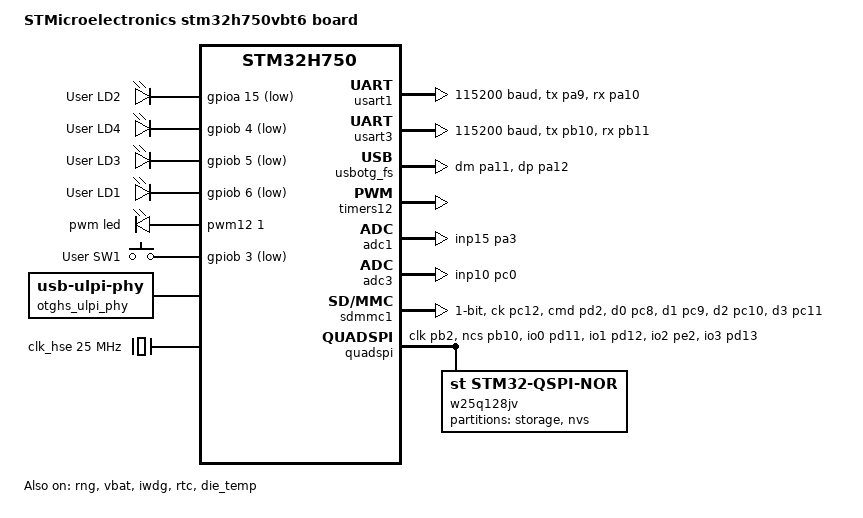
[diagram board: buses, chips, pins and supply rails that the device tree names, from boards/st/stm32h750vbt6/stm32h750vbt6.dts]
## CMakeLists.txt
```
# SPDX-License-Identifier: Apache-2.0

cmake_minimum_required(VERSION 3.20.0)
list(APPEND BOARD_ROOT ${CMAKE_CURRENT_SOURCE_DIR}/)
find_package(Zephyr REQUIRED HINTS $ENV{ZEPHYR_BASE})

project(stm32h750)

target_sources(app PRIVATE
	src/app_main.c
	src/hal_gpio.c
	src/hal_uart.c
	src/hal_rtc.c
	src/hal_adc.c
	src/hal_pwm.c
	src/qspi_flash.c
	src/fs_nvs.c
	src/sd_disk.c
	src/bsp_sd.c
	src/cpu_temp.c
)

# add_compile_definitions(HEADSET=1)

# Application sources
# add_subdirectory(src/audio)
```

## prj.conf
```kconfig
# Increased stack due to settings API usage
CONFIG_SYSTEM_WORKQUEUE_STACK_SIZE=4096
CONFIG_SYSTEM_WORKQUEUE_PRIORITY=5
CONFIG_MAIN_STACK_SIZE=4096
CONFIG_HEAP_MEM_POOL_SIZE=4096

# App settings:
CONFIG_SERIAL=y
CONFIG_UART_INTERRUPT_DRIVEN=y
CONFIG_SPI=y
CONFIG_FLASH=y
CONFIG_NVS=y
CONFIG_FLASH_PAGE_LAYOUT=y
CONFIG_SENSOR=y
CONFIG_STM32_TEMP=y
 
# SD卡文件系统
CONFIG_DISK_ACCESS=y
CONFIG_FILE_SYSTEM=y
CONFIG_DISK_DRIVERS=y
CONFIG_FAT_FILESYSTEM_ELM=y
# CONFIG_FILE_SYSTEM_EXT2=y
CONFIG_DISK_DRIVER_SDMMC=y

CONFIG_DMA=y
CONFIG_RTC=y
CONFIG_PWM=y
CONFIG_ADC=y
CONFIG_REGULATOR=y

# Log.
CONFIG_LOG=y
CONFIG_PRINTK=y
CONFIG_STDOUT_CONSOLE=y

# LOG Output mode.
CONFIG_LOG_MODE_DEFERRED=n  # 延迟输出模式(系统默认)
CONFIG_LOG_MODE_IMMEDIATE=y # 立即输出模式
CONFIG_LOG_MODE_MINIMAL=n   # 最小实现模式，日志直接通过printk同步输出
CONFIG_LOG_FRONTEND=n       # 输出被重定向到自定前端

# Disable ASSERT 断言判断，可以提高代码运行速度！
CONFIG_FORCE_NO_ASSERT=n
```

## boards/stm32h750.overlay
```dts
/*
 * Copyright 2023 STMicroelectronics
 *
 * SPDX-License-Identifier: Apache-2.0
 */

/* Copyright (c) 2021 STMicroelectronics
   SPDX-License-Identifier: Apache-2.0 */

 / {
	zephyr,user {
		/* adjust channel number according to pinmux in board.dts */
		io-channels = <&adc1 0>;
	};
};

&adc1 {
    #address-cells = <1>;
	#size-cells = <0>;
    #io-channel-cells = <1>;
	channel@0 {
		reg = <0>;
		zephyr,gain = "ADC_GAIN_1";
		zephyr,reference = "ADC_REF_INTERNAL";
		zephyr,acquisition-time = <ADC_ACQ_TIME_DEFAULT>;
		zephyr,resolution = <12>;
	};
};
```

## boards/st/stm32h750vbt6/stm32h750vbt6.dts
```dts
/*
 * Copyright (c) 2020 WuhanStudio
 * 
 * SPDX-License-Identifier: Apache-2.0
 */

 /dts-v1/;

 /*
 #include <st/h7/stm32h750Xb.dtsi> 这里不用官方的配置，FLASH RAM大小不对，自己进行适配修改！
  */
#include <st/h7/stm32h750vb.dtsi>
#include <st/h7/stm32h750vbtx-pinctrl.dtsi>
#include <zephyr/dt-bindings/input/input-event-codes.h>
  
/ {
	model = "STMicroelectronics stm32h750vbt6 board";
	compatible = "st,stm32h750";

	/* HW resources are split between CM7 */
	chosen {
		zephyr,console = &usart1;
		zephyr,shell-uart = &usart1;
		zephyr,sram = &sram0;
		zephyr,flash = &flash0;
		zephyr,flash-controller = &w25q128jv;
	};

	leds {
		compatible = "gpio-leds";

		orange_led:led_1 {
			gpios = <&gpioa 15 GPIO_ACTIVE_LOW>;
			label = "User LD2";
			status = "okay";
		};
		
		blue_led:led_2 {
			gpios = <&gpiob 4 GPIO_ACTIVE_LOW>;
			label = "User LD4";
			status = "okay";
		};

		red_led:led_3 {
		gpios = <&gpiob 5 GPIO_ACTIVE_LOW>;
		label = "User LD3";
		status = "okay";
	};

	green_led:led_4 {
			gpios = <&gpiob 6 GPIO_ACTIVE_LOW>;
			label = "User LD1";
			status = "okay";
		};
	};

	pwmleds {
		compatible = "pwm-leds";
		pwm_led0: pwm_led_0 {
			pwms = <&pwm12 1 PWM_USEC(100) PWM_POLARITY_NORMAL>;
			label = "pwm led";
			status = "okay";
		};
	};

	keys {
		compatible = "gpio-keys";
		wake_up: button {
			label = "User SW1";
			gpios = <&gpiob 3 (GPIO_PULL_UP | GPIO_ACTIVE_LOW)>;
			zephyr,code = <INPUT_KEY_0>;
			status = "okay";
		};
	};

	otghs_ulpi_phy: otghs_ulpis_phy {
		compatible = "usb-ulpi-phy";
		#phy-cells = <0>;
	};

	aliases {
		led0 = &green_led;
		led1 = &orange_led;
		led2 = &red_led;
		led3 = &blue_led;
		sw0 = &wake_up;
		rtc = &rtc;
		pwm-led0 = &pwm_led0;
	};
};
 
&clk_lsi {
	status = "disabled";
};

&clk_lse {
	status = "okay";
};

&clk_hse {
	clock-frequency = <DT_FREQ_M(25)>;
	status = "okay";
};
 
&clk_hsi48 {
	status = "okay";
};

&pll2 {
	div-m = <5>;
	mul-n = <96>;
	div-p = <2>;
	div-q = <4>;
	div-r = <10>;
	clocks = <&clk_hse>;  /* Assuming 25MHz HSE */
	status = "okay";
};

&pll3 {
	div-m = <5>;
	mul-n = <96>;
	div-p = <2>;
	div-q = <4>;
	div-r = <10>;
	clocks = <&clk_hse>;  /* Assuming 25MHz HSE */
	status = "okay";
};

&pll {
	div-m = <5>;
	mul-n = <160>;
	div-p = <2>;
	div-q = <4>;
	div-r = <2>;
	clocks = <&clk_hse>;
	status = "okay";
};

&rcc {
	clocks = <&pll>;  /* Set pll as SYSCLK source */
	clock-frequency = <DT_FREQ_M(400)>; /* SYSCLK runs at 400MHz */
	d1cpre = <1>;
	hpre = <2>;
	d1ppre = <2>;
	d2ppre1 = <2>;
	d2ppre2 = <2>;
	d3ppre = <2>;
};


&usart1 {
	status = "okay";
	pinctrl-0 = <&usart1_tx_pa9 &usart1_rx_pa10>;
	pinctrl-names = "default";
	current-speed = <115200>;
};

&usart3 {
	pinctrl-0 = <&usart3_tx_pb10 &usart3_rx_pb11>;
	pinctrl-names = "default";
	current-speed = <115200>;
	status = "okay";
};
 
&rng {
	status = "okay";
};

&vbat {
	status = "okay";
};

&iwdg {
	status = "okay";
};

&mac {
	status = "disabled";
	pinctrl-0 = <&eth_mdc_pc1
		     &eth_rxd0_pc4
		     &eth_rxd1_pc5
		     &eth_ref_clk_pa1
		     &eth_mdio_pa2
		     &eth_crs_dv_pa7
		     &eth_tx_en_pb11
		     &eth_txd0_pb12
		     &eth_txd1_pb13>;
	pinctrl-names = "default";
};

zephyr_udc0: &usbotg_fs {
	pinctrl-0 = <&usb_otg_fs_dm_pa11 &usb_otg_fs_dp_pa12>;
	pinctrl-names = "default";
	status = "okay";
};

&rtc {
	clocks = <&rcc STM32_CLOCK_BUS_APB4 0x00010000>,
			<&rcc STM32_SRC_LSE RTC_SEL(1)>;
	status = "okay";
};

&i2c1 {
	pinctrl-0 = <&i2c1_scl_pb8 &i2c1_sda_pb9>;
	pinctrl-names = "default";
	clock-frequency = <I2C_BITRATE_FAST>;
	status = "disabled";
};

&i2c2 {
	pinctrl-0 = <&i2c2_scl_pb10 &i2c2_sda_pb11>;
	pinctrl-names = "default";
	status = "disabled";
	clock-frequency = <I2C_BITRATE_FAST>;
};

&timers12 {
	status = "okay";
	st,prescaler = <999>;
	pwm12: pwm {
		status = "okay";
		pinctrl-0 = <&tim12_ch1_pb14>;
		pinctrl-names = "default";
	};
};

&adc1 {
	pinctrl-0 = <&adc1_inp15_pa3>;
	pinctrl-names = "default";
	st,adc-clock-source = <SYNC>;
	st,adc-prescaler = <4>;
	status = "okay";
};

&adc3 {
	pinctrl-0 = <&adc3_inp10_pc0>;
	pinctrl-names = "default";
	st,adc-clock-source = <ASYNC>;
	st,adc-prescaler = <4>;
	status = "okay";
};

/* 注意：要使能 &adc3，因为：io-channels = <&adc3 18>;  */
&die_temp { 
	status = "okay";
};

&spi4 {
	status = "disabled";
	fifo-enable;
	pinctrl-0 = <&spi4_sck_pe2 &spi4_miso_pe5 &spi4_mosi_pe6>;	
	cs-gpios = <&gpioe 4 (GPIO_ACTIVE_LOW | GPIO_PULL_UP)>;
	clock-frequency = <40000000>; /* 40MHz */
	pinctrl-names = "default";
	/* Sitronix ST7789V LCD */
	st7789v: st7789v@0 {
		compatible = "sitronix,st7789v";
		label = "ST7789V";
		reg = <0 DT_SIZE_K(10)>;
		// cmd-data-gpios = <&gpioe 1 GPIO_ACTIVE_LOW>;	
		// reset-gpios = <&gpioe 3 GPIO_ACTIVE_LOW>;
		width = <240>;
		height = <240>;
		x-offset = <0>;
		y-offset = <0>;
		vcom = <0x19>;
		gctrl = <0x35>;
		vrhs = <0x12>;
		vdvs = <0x20>;
		mdac = <0x00>;
		gamma = <0x01>;
		colmod = <0x05>;
		lcm = <0x2c>;
		porch-param = [0c 0c 00 33 33];
		cmd2en-param = [5a 69 02 01];
		pwctrl1-param = [a4 a1];
		pvgam-param = [D0 04 0D 11 13 2B 3F 54 4C 18 0D 0B 1F 23];
		nvgam-param = [D0 04 0C 11 13 2C 3F 44 51 2F 1F 1F 20 23];
		ram-param = [00 F0];
		rgb-param = [CD 08 14];
	};
};
 

&ext_memory {
	status = "disabled";
};

&dmamux1 {
	status = "okay";
};
 
&sdmmc1 {
	pinctrl-0 = <	&sdmmc1_ck_pc12 &sdmmc1_cmd_pd2
					&sdmmc1_d0_pc8  &sdmmc1_d1_pc9
					&sdmmc1_d2_pc10 &sdmmc1_d3_pc11>;
	// cd-gpios = <&gpioa 8 (GPIO_ACTIVE_LOW | GPIO_PULL_UP)>;
	pinctrl-names = "default";
	status = "okay";
	bus-width = <1>;
	clk-div = <1>;
	clocks = <&rcc STM32_CLOCK_BUS_AHB3 0x00010000>,
			 <&rcc STM32_SRC_PLL3_R SDMMC_SEL(0)>;   // 必须48MHz才行！
	// idma;
	// dmas = <&dma2 4 6 0x30000 0x00>, <&dma2 4 3 0x30000 0x00>;
	// dma-names = "tx", "rx";
};

&quadspi {
	pinctrl-0 = <	&quadspi_clk_pb2 &quadspi_bk1_ncs_pb10
					&quadspi_bk1_io0_pd11 &quadspi_bk1_io1_pd12
					&quadspi_bk1_io2_pe2 &quadspi_bk1_io3_pd13>;
	pinctrl-names = "default";
	status = "okay";

	w25q128jv: qspi-nor-flash@90000000 {
		compatible = "st,stm32-qspi-nor";
		reg = <0x90000000 DT_SIZE_M(16)>; /* 128 Mbits */
		qspi-max-frequency = <80000000>;
		spi-bus-width = <4>;
		writeoc="PP_1_1_4";
		status = "okay";
		partitions {
			compatible = "fixed-partitions";
			#address-cells = <1>;
			#size-cells = <1>;
			
			storage_partition: partition@0 {
				label = "storage";
				reg = <0x0 DT_SIZE_M(8)>;
			};

			nvs_partition: partition@800000 {
				label = "nvs";
				reg = <0x800000 DT_SIZE_M(8)>;
			};
		};
	};
};
```

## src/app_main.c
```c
/*
 * Copyright (c) 2022 Libre Solar Technologies GmbH
 *
 * SPDX-License-Identifier: Apache-2.0
 */

#include <zephyr/types.h>
#include <stddef.h>
#include <string.h>
#include <errno.h>

#include <zephyr/sys/printk.h>

#include <zephyr/sys/byteorder.h>
#include <zephyr/kernel.h>
#include <zephyr/drivers/pwm.h>


#include "hal_gpio.h"
#include "hal_uart.h"
#include "hal_rtc.h"
#include "hal_pwm.h"
#include "qspi_flash.h"
#include "fs_nvs.h"
#include "sd_disk.h"
#include "bsp_sd.h"
#include "cpu_temp.h"

#include <zephyr/logging/log.h>
LOG_MODULE_REGISTER(app_main, LOG_LEVEL_DBG);

void uart_recv_callback(uart_port_t uart_port, uint8_t *data, uint16_t len)
{
	LOG_INF("port[%d] = %s | %d", uart_port, data, len);
}
 
extern void led0_toggle(void);
 
extern int hal_adc_setup(void);


int main(void)
{
	LOG_DBG("app main start...");
	// k_msleep(1000);

 	hal_gpio_init();

	hal_uart_init(uart_recv_callback);

	spi_flash_init();

	fs_nvs_init();
  
	hal_pwm_setup();

	rtc_write_time(1767225595UL);

#if DT_HAS_COMPAT_STATUS_OKAY(st_stm32_sdmmc)
// #if DT_NODE_HAS_STATUS(DT_PATH(soc, sdmmc_52007000), okay)
	sd_disk_init();
#else
	bap_sd_init();
#endif

	cpu_temp_init();
 
	while (1) {

        led0_toggle();

		static uint8_t pwm_duty = 0;
		if (++pwm_duty > 100) pwm_duty = 1;
		hal_pwm_set_duty(pwm_duty);

		(void)cpu_temp_read();
  
		#if 0
		struct rtc_time datetime_get;
		time_t timer_get = rtc_read_time(&datetime_get);
		LOG_DBG("datetime_get.tm_sec = %d, %lld", datetime_get.tm_sec, timer_get);
		#endif
        k_msleep(1000);
		//break;    
    }

	hal_adc_setup();
 
	return 0; 
}

/** 开发板资料：
 * http://124.222.62.86/yd-data/YD-STM32H7xxvx/
*/
```

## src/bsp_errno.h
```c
/**
  ******************************************************************************
  * @file    stm32h750_errno.h
  * @author  MCD Application Team
  * @brief   Error Code.
  *
  ******************************************************************************
  * @attention
  *
  * Copyright (c) 2019 STMicroelectronics.
  * All rights reserved.
  *
  * This software is licensed under terms that can be found in the LICENSE file
  * in the root directory of this software component.
  * If no LICENSE file comes with this software, it is provided AS-IS.
  *
  ******************************************************************************
  */

/* Define to prevent recursive inclusion -------------------------------------*/
#ifndef STM32H750_ERRNO_H
#define STM32H750_ERRNO_H

#ifdef __cplusplus
 extern "C" {
#endif

/* Common Error codes */
#define BSP_ERROR_NONE                    0
#define BSP_ERROR_NO_INIT                -1
#define BSP_ERROR_WRONG_PARAM            -2
#define BSP_ERROR_BUSY                   -3
#define BSP_ERROR_PERIPH_FAILURE         -4
#define BSP_ERROR_COMPONENT_FAILURE      -5
#define BSP_ERROR_UNKNOWN_FAILURE        -6
#define BSP_ERROR_UNKNOWN_COMPONENT      -7
#define BSP_ERROR_BUS_FAILURE            -8
#define BSP_ERROR_CLOCK_FAILURE          -9
#define BSP_ERROR_MSP_FAILURE            -10
#define BSP_ERROR_FEATURE_NOT_SUPPORTED  -11

/* BSP OSPI error codes */
#define BSP_ERROR_OSPI_SUSPENDED          -20
#define BSP_ERROR_OSPI_ASSIGN_FAILURE     -24
#define BSP_ERROR_OSPI_SETUP_FAILURE      -25
#define BSP_ERROR_OSPI_MMP_LOCK_FAILURE   -26
#define BSP_ERROR_OSPI_MMP_UNLOCK_FAILURE -27

/* BSP TS error code */
#define BSP_ERROR_TS_TOUCH_NOT_DETECTED   -30

/* BSP BUS error codes */
#define BSP_ERROR_BUS_TRANSACTION_FAILURE    -100
#define BSP_ERROR_BUS_ARBITRATION_LOSS       -101
#define BSP_ERROR_BUS_ACKNOWLEDGE_FAILURE    -102
#define BSP_ERROR_BUS_PROTOCOL_FAILURE       -103

#define BSP_ERROR_BUS_MODE_FAULT             -104
#define BSP_ERROR_BUS_FRAME_ERROR            -105
#define BSP_ERROR_BUS_CRC_ERROR              -106
#define BSP_ERROR_BUS_DMA_FAILURE            -107

#ifdef __cplusplus
}
#endif

#endif /* STM32H750_ERRNO_H */
```

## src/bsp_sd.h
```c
/**
  ******************************************************************************
  * @file    stm32h7_eval_sd.h
  * @author  MCD Application Team
    * @brief   This file contains the common defines and functions prototypes for
  *          the stm32h7_eval_sd.c driver.
  ******************************************************************************
  * @attention
  *
  * Copyright (c) 2019 STMicroelectronics.
  * All rights reserved.
  *
  * This software is licensed under terms that can be found in the LICENSE file
  * in the root directory of this software component.
  * If no LICENSE file comes with this software, it is provided AS-IS.
  *
  ******************************************************************************
    */

/* Define to prevent recursive inclusion -------------------------------------  */
#ifndef STM32H7_EVAL_SD_H
#define STM32H7_EVAL_SD_H

#ifdef __cplusplus
extern "C" {
#endif

/* Includes ------------------------------------------------------------------  */
#include <stm32_ll_rcc.h>
#include <stm32_ll_gpio.h>
#include <stm32_ll_sdmmc.h>
#include "bsp_errno.h"

/** @addtogroup BSP
  * @{
  */

/** @addtogroup STM32H7_EVAL
  * @{
  */

/** @defgroup STM32H7_EVAL_SD SD
  * @{
  */

/** @defgroup STM32H7_EVAL_SD_Exported_Types SD Exported Types
  * @{
  */

/**
  * @brief SD Card information structure
  */
#define BSP_SD_CardInfo HAL_SD_CardInfoTypeDef

#if (USE_HAL_SD_REGISTER_CALLBACKS == 1)
typedef struct
{
  pSD_CallbackTypeDef  pMspInitCb;
  pSD_CallbackTypeDef  pMspDeInitCb;
}BSP_SD_Cb_t;
#endif /* (USE_HAL_SD_REGISTER_CALLBACKS == 1) */
/**
  * @}
  */

/** @defgroup STM32H750_DK_SD_Exported_Constants Exported Constants
  * @{
  */
#define SD_INSTANCES_NBR         1UL

#ifndef SD_WRITE_TIMEOUT
#define SD_WRITE_TIMEOUT         500U
#endif

#ifndef SD_READ_TIMEOUT
#define SD_READ_TIMEOUT          100U
#endif

/**
  * @brief  SD transfer state definition
  */
#define   SD_TRANSFER_OK         0U
#define   SD_TRANSFER_BUSY       1U

/**
  * @brief SD-detect signal
  */
#define SD_PRESENT               1UL
#define SD_NOT_PRESENT           0UL

/* IRQ priorities */
#define BSP_SRAM_IT_PRIORITY                15U
#define BSP_SDRAM_IT_PRIORITY               15U
#define BSP_IOEXPANDER_IT_PRIORITY          15U
#define BSP_BUTTON_USER_IT_PRIORITY         15U
#define BSP_BUTTON_WAKEUP_IT_PRIORITY       15U
#define BSP_BUTTON_TAMPER_IT_PRIORITY       15U
#define BSP_AUDIO_OUT_IT_PRIORITY           14U
#define BSP_AUDIO_IN_IT_PRIORITY            15U
#define BSP_SD_IT_PRIORITY                  14U
#define BSP_SD_RX_IT_PRIORITY               14U
#define BSP_SD_TX_IT_PRIORITY               15U
#define BSP_TS_IT_PRIORITY                  15U

#define SD_DETECT_PIN                        GPIO_PIN_8
#define SD_DETECT_GPIO_PORT                  GPIOA
#define SD_DETECT_GPIO_CLK_ENABLE()          __HAL_RCC_GPIOA_CLK_ENABLE()
#define SD_DETECT_GPIO_CLK_DISABLE()         __HAL_RCC_GPIOA_CLK_DISABLE()
#define SD_DETECT_EXTI_IRQn                  EXTI9_5_IRQn
#define SD_DETECT_EXTI_LINE                  EXTI_LINE_8

/* DMA definitions for SD DMA transfer */
#define SD1_DMAx_TxRx_CLK_ENABLE           __HAL_RCC_DMA2_CLK_ENABLE
#define SD1_SDMMC1_DMAx_Tx_CHANNEL         DMA_CHANNEL_4
#define SD1_SDMMC1_DMAx_Rx_CHANNEL         DMA_CHANNEL_4
#define SD1_SDMMC1_DMAx_Tx_STREAM          DMA2_Stream6
#define SD1_SDMMC1_DMAx_Rx_STREAM          DMA2_Stream3
#define SD1_SDMMC1_DMAx_Tx_IRQn            DMA2_Stream6_IRQn
#define SD1_SDMMC1_DMAx_Rx_IRQn            DMA2_Stream3_IRQn
#define SD1_SDMMC1_DMA_Tx_IRQHandler       DMA2_Stream6_IRQHandler
#define SD1_SDMMC1_DMA_Rx_IRQHandler       DMA2_Stream3_IRQHandler
#define SD1_SDMMC1_IRQHandler              SDMMC1_IRQHandler

/**
  * @}
  */

/** @addtogroup STM32H750_DK_SD_Exported_Variables
  * @{
  */
#define BSP_SD_INSTANCE		0
extern SD_HandleTypeDef   hsd_sdmmc[];
extern EXTI_HandleTypeDef hsd_exti[];

/**
  * @}
  */

/** @defgroup STM32H750_DK_SD_Exported_FunctionsPrototypes Exported Functions Prototypes
  * @{
  */
int32_t BSP_SD_Init(uint32_t Instance);
int32_t BSP_SD_DeInit(uint32_t Instance);
#if (USE_HAL_SD_REGISTER_CALLBACKS == 1)
int32_t BSP_SD_RegisterMspCallbacks(uint32_t Instance, BSP_SD_Cb_t *CallBacks);
int32_t BSP_SD_RegisterDefaultMspCallbacks(uint32_t Instance);
#endif /* (USE_HAL_SD_REGISTER_CALLBACKS == 1) */
int32_t BSP_SD_DetectITConfig(uint32_t Instance);
int32_t BSP_SD_ReadBlocks(uint32_t Instance, uint32_t *pData, uint32_t BlockIdx, uint32_t BlocksNbr);
int32_t BSP_SD_WriteBlocks(uint32_t Instance, uint32_t *pData, uint32_t BlockIdx, uint32_t NbrOfBlocks);
int32_t BSP_SD_ReadBlocks_DMA(uint32_t Instance, uint32_t *pData, uint32_t BlockIdx, uint32_t NbrOfBlocks);
int32_t BSP_SD_WriteBlocks_DMA(uint32_t Instance, uint32_t *pData, uint32_t BlockIdx, uint32_t NbrOfBlocks);
int32_t BSP_SD_ReadBlocks_IT(uint32_t Instance, uint32_t *pData, uint32_t BlockIdx, uint32_t NbrOfBlocks);
int32_t BSP_SD_WriteBlocks_IT(uint32_t Instance, uint32_t *pData, uint32_t BlockIdx, uint32_t NbrOfBlocks);
int32_t BSP_SD_Erase(uint32_t Instance, uint32_t BlockIdx, uint32_t BlocksNbr);
int32_t BSP_SD_GetCardState(uint32_t Instance);
int32_t BSP_SD_GetCardInfo(uint32_t Instance, BSP_SD_CardInfo *CardInfo);
int32_t BSP_SD_IsDetected(uint32_t Instance);

/* These functions can be modified in case the current settings (e.g. DMA stream or IT)
   need to be changed for specific application needs */
void BSP_SD_AbortCallback(uint32_t Instance);
void BSP_SD_WriteCpltCallback(uint32_t Instance);
void BSP_SD_ReadCpltCallback(uint32_t Instance);

HAL_StatusTypeDef MX_SDMMC1_SD_Init(SD_HandleTypeDef *hsd);
void BSP_SD_DetectCallback(uint32_t Instance, uint32_t Status);

void BSP_SD_DETECT_IRQHandler(uint32_t Instance);
void BSP_SD_IRQHandler(uint32_t Instance);


int32_t bap_sd_init(void);

/**
  * @}
  */

/**
  * @}
  */

/**
  * @}
  */

/**
  * @}
  */

#ifdef __cplusplus
}
#endif

#endif /* STM32H7_EVAL_SD_H   */
```

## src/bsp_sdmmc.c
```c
/**
 ******************************************************************************
 * @file    stm32h750b_discovery_mmc.c
 * @author  MCD Application Team
 * @brief   This file includes the EMMC driver mounted on STM32H750B-DK
 *          board.
 ******************************************************************************
 * @attention
 *
 * Copyright (c) 2018 STMicroelectronics.
 * All rights reserved.
 *
 * This software is licensed under terms that can be found in the LICENSE file
 * in the root directory of this software component.
 * If no LICENSE file comes with this software, it is provided AS-IS.
 *
 ******************************************************************************
 */

/* File Info : -----------------------------------------------------------------
                                   User NOTES
1. How To use this driver:
--------------------------
   - This driver is used to drive the EMMC mounted on STM32H750B-DK board.
   - This driver does not need a specific component driver for the EMMC device
     to be included with.

2. Driver description:
---------------------
  + Initialization steps:
     o Initialize the external EMMC memory using the BSP_MMC_Init() function. This
       function includes the MSP layer hardware resources initialization and the
       SDIO interface configuration to interface with the external EMMC. It
       also includes the EMMC initialization sequence.
     o The function BSP_MMC_GetCardInfo() is used to get the MMC information
       which is stored in the structure "HAL_MMC_CardInfoTypedef".

  + Micro MMC card operations
     o The micro MMC card can be accessed with read/write block(s) operations once
       it is ready for access. The access can be performed whether using the polling
       mode by calling the functions BSP_MMC_ReadBlocks()/BSP_MMC_WriteBlocks(), or by DMA
       transfer using the functions BSP_MMC_ReadBlocks_DMA()/BSP_MMC_WriteBlocks_DMA()
     o The DMA transfer complete is used with interrupt mode. Once the MMC transfer
       is complete, the MMC interrupt is handled using the function BSP_MMC_IRQHandler(),
       the DMA Tx/Rx transfer complete are handled using the functions
       MMC_DMA_Tx_IRQHandler()/MMC_DMA_Rx_IRQHandler() that should be defined by user.
       The corresponding user callbacks are implemented by the user at application level.
     o The MMC erase block(s) is performed using the function BSP_MMC_Erase() with specifying
       the number of blocks to erase.
     o The MMC runtime status is returned when calling the function BSP_MMC_GetStatus().

------------------------------------------------------------------------------*/

/* Includes ------------------------------------------------------------------*/
#include <zephyr/sys/printk.h>

#include "bsp_sdmmc.h"

/** @addtogroup BSP
 * @{
 */

/** @addtogroup STM32H750B_DK
 * @{
 */

/** @defgroup STM32H750B_DK_MMC MMC
 * @{
 */

/** @defgroup STM32H750B_DK_MMC_Exported_Variables Exported Variables
 * @{
 */
MMC_HandleTypeDef hsd_sdmmc[MMC_INSTANCES_NBR];
/**
 * @}
 */

/** @defgroup STM32H750B_DK_MMC_Private_FunctionsPrototypes Private Functions Prototypes
 * @{
 */
static void MMC_MspInit(MMC_HandleTypeDef *hmmc);
static void MMC_MspDeInit(MMC_HandleTypeDef *hmmc);
#if (USE_HAL_MMC_REGISTER_CALLBACKS == 1)
static void MMC_AbortCallback(MMC_HandleTypeDef *hmmc);
static void MMC_TxCpltCallback(MMC_HandleTypeDef *hmmc);
static void MMC_RxCpltCallback(MMC_HandleTypeDef *hmmc);
#endif
/**
 * @}
 */

/** @defgroup STM32H750B_DK_MMC_Exported_Functions Exported Functions
 * @{
 */

/**
 * @brief  Initializes the MMC card device.
 * @param  Instance      SDMMC Instance
 * @retval BSP status
 */
int32_t BSP_MMC_Init(uint32_t Instance)
{
    int32_t ret = BSP_ERROR_NONE;

    if (Instance >= MMC_INSTANCES_NBR)
    {
        ret = BSP_ERROR_WRONG_PARAM;
    }
    else
    {
#if (USE_HAL_MMC_REGISTER_CALLBACKS == 0)
        /* Msp MMC initialization */
        MMC_MspInit(&hsd_sdmmc[Instance]);
#else
        /* Register the MMC MSP Callbacks */
        if (IsMspCallbacksValid[Instance] == 0UL)
        {
            if (BSP_MMC_RegisterDefaultMspCallbacks(Instance) != BSP_ERROR_NONE)
            {
                ret = BSP_ERROR_PERIPH_FAILURE;
            }
        }
        if (ret == BSP_ERROR_NONE)
        {
#endif
        /* HAL MMC initialization */
        if (MX_MMC_SD_Init(&hsd_sdmmc[Instance]) != HAL_OK)
        {
            ret = BSP_ERROR_PERIPH_FAILURE;
        }
#if (USE_HAL_MMC_REGISTER_CALLBACKS == 1)
        /* Register MMC TC, HT and Abort callbacks */
        else if (HAL_MMC_RegisterCallback(&hsd_sdmmc[Instance], HAL_MMC_TX_CPLT_CB_ID, MMC_TxCpltCallback) != HAL_OK)
        {
            ret = BSP_ERROR_PERIPH_FAILURE;
        }
        else if (HAL_MMC_RegisterCallback(&hsd_sdmmc[Instance], HAL_MMC_RX_CPLT_CB_ID, MMC_RxCpltCallback) != HAL_OK)
        {
            ret = BSP_ERROR_PERIPH_FAILURE;
        }
        else
        {
            if (HAL_MMC_RegisterCallback(&hsd_sdmmc[Instance], HAL_MMC_ABORT_CB_ID, MMC_AbortCallback) != HAL_OK)
            {
                ret = BSP_ERROR_PERIPH_FAILURE;
            }
        }
    }
#endif /* USE_HAL_MMC_REGISTER_CALLBACKS */
}

return ret;
}

/**
 * @brief  DeInitializes the MMC card device.
 * @param  Instance      SDMMC Instance
 * @retval BSP status
 */
int32_t BSP_MMC_DeInit(uint32_t Instance)
{
    int32_t ret = BSP_ERROR_NONE;

    if (Instance >= MMC_INSTANCES_NBR)
    {
        ret = BSP_ERROR_WRONG_PARAM;
    } /* HAL MMC deinitialization */
    else if (HAL_MMC_DeInit(&hsd_sdmmc[Instance]) != HAL_OK)
    {
        ret = BSP_ERROR_PERIPH_FAILURE;
    }
    else
    {
        /* Msp MMC de-initialization */
#if (USE_HAL_MMC_REGISTER_CALLBACKS == 0)
        MMC_MspDeInit(&hsd_sdmmc[Instance]);
#endif /* (USE_HAL_MMC_REGISTER_CALLBACKS == 0) */
    }

    return ret;
}

/**
 * @brief  Initializes the SDMMC1 peripheral.
 * @param  hmmc SD handle
 * @retval HAL status
 */
__weak HAL_StatusTypeDef MX_MMC_SD_Init(MMC_HandleTypeDef *hmmc)
{
    HAL_StatusTypeDef ret = HAL_OK;

    hmmc->State                    = HAL_MMC_STATE_RESET;
    hmmc->Instance                 = SDMMC1;
    hmmc->Init.ClockDiv            = 2;
    hmmc->Init.ClockPowerSave      = SDMMC_CLOCK_POWER_SAVE_DISABLE;
    hmmc->Init.ClockEdge           = SDMMC_CLOCK_EDGE_RISING;
    hmmc->Init.HardwareFlowControl = SDMMC_HARDWARE_FLOW_CONTROL_ENABLE;
    hmmc->Init.BusWide             = SDMMC_BUS_WIDE_8B;
    
    /* HAL SD initialization */
    ret = HAL_MMC_Init(hmmc);
    printk("MX_MMC_SD_Init, ret = %d\r\n", ret);
    return ret;
}

#if (USE_HAL_MMC_REGISTER_CALLBACKS == 1)
/**
 * @brief Default BSP MMC Msp Callbacks
 * @param  Instance      SDMMC Instance
 * @retval BSP status
 */
int32_t BSP_MMC_RegisterDefaultMspCallbacks(uint32_t Instance)
{
    int32_t ret = BSP_ERROR_NONE;

    if (Instance >= MMC_INSTANCES_NBR)
    {
        ret = BSP_ERROR_WRONG_PARAM;
    }
    else
    {
        /* Register MspInit/MspDeInit Callbacks */
        if (HAL_MMC_RegisterCallback(&hsd_sdmmc[Instance], HAL_MMC_MSP_INIT_CB_ID, MMC_MspInit) != HAL_OK)
        {
            ret = BSP_ERROR_PERIPH_FAILURE;
        }
        else if (HAL_MMC_RegisterCallback(&hsd_sdmmc[Instance], HAL_MMC_MSP_DEINIT_CB_ID, MMC_MspDeInit) != HAL_OK)
        {
            ret = BSP_ERROR_PERIPH_FAILURE;
        }
        else
        {
            IsMspCallbacksValid[Instance] = 1U;
        }
    }
    /* Return BSP status */
    return ret;
}

/**
 * @brief BSP MMC Msp Callback registering
 * @param  Instance   SDMMC Instance
 * @param  CallBacks  pointer to MspInit/MspDeInit callbacks functions
 * @retval BSP status
 */
int32_t BSP_MMC_RegisterMspCallbacks(uint32_t Instance, BSP_MMC_Cb_t *CallBacks)
{
    int32_t ret = BSP_ERROR_NONE;

    if (Instance >= MMC_INSTANCES_NBR)
    {
        ret = BSP_ERROR_WRONG_PARAM;
    }
    else
    {
        /* Register MspInit/MspDeInit Callbacks */
        if (HAL_MMC_RegisterCallback(&hsd_sdmmc[Instance], HAL_MMC_MSP_INIT_CB_ID, CallBacks->pMspInitCb) != HAL_OK)
        {
            ret = BSP_ERROR_PERIPH_FAILURE;
        }
        else if (HAL_MMC_RegisterCallback(&hsd_sdmmc[Instance], HAL_MMC_MSP_DEINIT_CB_ID, CallBacks->pMspDeInitCb) != HAL_OK)
        {
            ret = BSP_ERROR_PERIPH_FAILURE;
        }
        else
        {
            IsMspCallbacksValid[Instance] = 1U;
        }
    }

    /* Return BSP status */
    return ret;
}
#endif /* (USE_HAL_MMC_REGISTER_CALLBACKS == 1) */

/**
 * @brief  Reads block(s) from a specified address in an SD card, in polling mode.
 * @param  Instance   MMC Instance
 * @param  pData      Pointer to the buffer that will contain the data to transmit
 * @param  BlockIdx   Block index from where data is to be read
 * @param  BlocksNbr  Number of MMC blocks to read
 * @retval BSP status
 */
int32_t BSP_MMC_ReadBlocks(uint32_t Instance, uint32_t *pData, uint32_t BlockIdx, uint32_t BlocksNbr)
{
    uint32_t timeout = MMC_READ_TIMEOUT * BlocksNbr;
    int32_t ret;

    if (Instance >= MMC_INSTANCES_NBR)
    {
        ret = BSP_ERROR_WRONG_PARAM;
    }
    else if (HAL_MMC_ReadBlocks(&hsd_sdmmc[Instance], (uint8_t *)pData, BlockIdx, BlocksNbr, timeout) != HAL_OK)
    {
        ret = BSP_ERROR_PERIPH_FAILURE;
    }
    else
    {
        ret = BSP_ERROR_NONE;
    }
    /* Return BSP status */
    return ret;
}

/**
 * @brief  Writes block(s) to a specified address in an SD card, in polling mode.
 * @param  Instance   MMC Instance
 * @param  pData      Pointer to the buffer that will contain the data to transmit
 * @param  BlockIdx   Block index from where data is to be written
 * @param  BlocksNbr  Number of MMC blocks to write
 * @retval BSP status
 */
int32_t BSP_MMC_WriteBlocks(uint32_t Instance, uint32_t *pData, uint32_t BlockIdx, uint32_t BlocksNbr)
{
    uint32_t timeout = MMC_READ_TIMEOUT * BlocksNbr;
    int32_t ret;

    if (Instance >= MMC_INSTANCES_NBR)
    {
        ret = BSP_ERROR_WRONG_PARAM;
    }
    else if (HAL_MMC_WriteBlocks(&hsd_sdmmc[Instance], (uint8_t *)pData, BlockIdx, BlocksNbr, timeout) != HAL_OK)
    {
        ret = BSP_ERROR_PERIPH_FAILURE;
    }
    else
    {
        ret = BSP_ERROR_NONE;
    }
    /* Return BSP status */
    return ret;
}

/**
 * @brief  Reads block(s) from a specified address in an SD card, in DMA mode.
 * @param  Instance   MMC Instance
 * @param  pData      Pointer to the buffer that will contain the data to transmit
 * @param  BlockIdx   Block index from where data is to be read
 * @param  BlocksNbr  Number of MMC blocks to read
 * @retval BSP status
 */
int32_t BSP_MMC_ReadBlocks_DMA(uint32_t Instance, uint32_t *pData, uint32_t BlockIdx, uint32_t BlocksNbr)
{
    int32_t ret;

    if (Instance >= MMC_INSTANCES_NBR)
    {
        ret = BSP_ERROR_WRONG_PARAM;
    }
    else if (HAL_MMC_ReadBlocks_DMA(&hsd_sdmmc[Instance], (uint8_t *)pData, BlockIdx, BlocksNbr) != HAL_OK)
    {
        ret = BSP_ERROR_PERIPH_FAILURE;
    }
    else
    {
        ret = BSP_ERROR_NONE;
    }
    /* Return BSP status */
    return ret;
}

/**
 * @brief  Writes block(s) to a specified address in an SD card, in DMA mode.
 * @param  Instance   MMC Instance
 * @param  pData      Pointer to the buffer that will contain the data to transmit
 * @param  BlockIdx   Block index from where data is to be written
 * @param  BlocksNbr  Number of MMC blocks to write
 * @retval BSP status
 */
int32_t BSP_MMC_WriteBlocks_DMA(uint32_t Instance, uint32_t *pData, uint32_t BlockIdx, uint32_t BlocksNbr)
{
    int32_t ret;

    if (Instance >= MMC_INSTANCES_NBR)
    {
        ret = BSP_ERROR_WRONG_PARAM;
    }
    else if (HAL_MMC_WriteBlocks_DMA(&hsd_sdmmc[Instance], (uint8_t *)pData, BlockIdx, BlocksNbr) != HAL_OK)
    {
        ret = BSP_ERROR_PERIPH_FAILURE;
    }
    else
    {
        ret = BSP_ERROR_NONE;
    }
    /* Return BSP status */
    return ret;
}

/**
 * @brief  Erases the specified memory area of the given MMC card.
 * @param  Instance   MMC Instance
 * @param  StartAddr : Start byte address
 * @param  EndAddr : End byte address
 * @retval BSP status
 */
int32_t BSP_MMC_Erase(uint32_t Instance, uint32_t StartAddr, uint32_t EndAddr)
{
    int32_t ret;

    if (Instance >= MMC_INSTANCES_NBR)
    {
        ret = BSP_ERROR_WRONG_PARAM;
    }
    else if (HAL_MMC_Erase(&hsd_sdmmc[Instance], StartAddr, EndAddr) != HAL_OK)
    {
        ret = BSP_ERROR_PERIPH_FAILURE;
    }
    else
    {
        ret = BSP_ERROR_NONE;
    }

    return ret;
}

/**
 * @brief  Handles MMC card interrupt request.
 * @param  Instance   MMC Instance
 * @retval None
 */
void BSP_MMC_IRQHandler(uint32_t Instance)
{
    HAL_MMC_IRQHandler(&hsd_sdmmc[Instance]);
}

/**
 * @brief  Gets the current MMC card data status.
 * @param  Instance   MMC Instance
 * @retval Data transfer state.
 *          This value can be one of the following values:
 *            @arg  MMC_TRANSFER_OK: No data transfer is acting
 *            @arg  MMC_TRANSFER_BUSY: Data transfer is acting
 *            @arg  MMC_TRANSFER_ERROR: Data transfer error
 */
int32_t BSP_MMC_GetCardState(uint32_t Instance)
{
    return ((HAL_MMC_GetCardState(&hsd_sdmmc[Instance]) == HAL_MMC_CARD_TRANSFER) ? MMC_TRANSFER_OK : MMC_TRANSFER_BUSY);
}

/**
 * @brief  Get MMC information about specific MMC card.
 * @param  Instance   MMC Instance
 * @param  CardInfo : Pointer to HAL_MMC_CardInfoTypedef structure
 * @retval None
 */
int32_t BSP_MMC_GetCardInfo(uint32_t Instance, BSP_MMC_CardInfo *CardInfo)
{
    int32_t ret;

    if (Instance >= MMC_INSTANCES_NBR)
    {
        ret = BSP_ERROR_WRONG_PARAM;
    }
    else if (HAL_MMC_GetCardInfo(&hsd_sdmmc[Instance], CardInfo) != HAL_OK)
    {
        ret = BSP_ERROR_PERIPH_FAILURE;
    }
    else
    {
        ret = BSP_ERROR_NONE;
    }
    /* Return BSP status */
    return ret;
}

/**
 * @brief BSP MMC Abort callbacks
 * @param  Instance   MMC Instance
 * @retval None
 */
__weak void BSP_MMC_AbortCallback(uint32_t Instance)
{
    /* Prevent unused argument(s) compilation warning */
    UNUSED(Instance);
}

/**
 * @brief BSP Tx Transfer completed callbacks
 * @param  Instance   MMC Instance
 * @retval None
 */
__weak void BSP_MMC_WriteCpltCallback(uint32_t Instance)
{
    /* Prevent unused argument(s) compilation warning */
    UNUSED(Instance);
}

/**
 * @brief BSP Rx Transfer completed callbacks
 * @param  Instance   MMC Instance
 * @retval None
 */
__weak void BSP_MMC_ReadCpltCallback(uint32_t Instance)
{
    /* Prevent unused argument(s) compilation warning */
    UNUSED(Instance);
}

#if (USE_HAL_MMC_REGISTER_CALLBACKS == 0)
/**
 * @brief MMC Abort callbacks
 * @param hmmc : MMC handle
 * @retval None
 */
void HAL_MMC_AbortCallback(MMC_HandleTypeDef *hmmc)
{
    BSP_MMC_AbortCallback(0);
}

/**
 * @brief Tx Transfer completed callbacks
 * @param hmmc: MMC handle
 * @retval None
 */
void HAL_MMC_TxCpltCallback(MMC_HandleTypeDef *hmmc)
{
    BSP_MMC_WriteCpltCallback(0);
}

/**
 * @brief Rx Transfer completed callbacks
 * @param hmmc: MMC handle
 * @retval None
 */
void HAL_MMC_RxCpltCallback(MMC_HandleTypeDef *hmmc)
{
    BSP_MMC_ReadCpltCallback(0);
}
#endif
/**
 * @}
 */

/** @defgroup STM32H750B_DK_MMC_Private_Functions Private Functions
 * @{
 */

/**
 * @brief  Initializes the MMC MSP.
 * @param  hmmc  MMC handle
 * @retval None
 */
static void MMC_MspInit(MMC_HandleTypeDef *hmmc)
{
    /* Prevent unused argument(s) compilation warning */
    UNUSED(hmmc);

    /* __weak function can be modified by the application */
    GPIO_InitTypeDef gpio_init_structure;

    /* Enable SDIO clock */
    __HAL_RCC_SDMMC1_CLK_ENABLE();

    /* Enable GPIOs clock */
    __HAL_RCC_GPIOA_CLK_ENABLE();
    __HAL_RCC_GPIOC_CLK_ENABLE();
    __HAL_RCC_GPIOD_CLK_ENABLE();
 
    
    /* Common GPIO configuration */
    gpio_init_structure.Mode = GPIO_MODE_AF_PP;
    gpio_init_structure.Pull = GPIO_PULLUP;
    gpio_init_structure.Speed = GPIO_SPEED_FREQ_VERY_HIGH;
    gpio_init_structure.Alternate = GPIO_AF12_SDIO1;

#if 1
    /* SDMMC GPIO CLKIN PB8, D0 PC8, D1 PC9, D2 PC10, D3 PC11, CK PC12, CMD PD2 */
    /* GPIOC configuration */
    gpio_init_structure.Pin = GPIO_PIN_8 | GPIO_PIN_9 | GPIO_PIN_10 | GPIO_PIN_11 | GPIO_PIN_12;
    HAL_GPIO_Init(GPIOC, &gpio_init_structure);

    /* GPIOD configuration CMD PD2 */
    gpio_init_structure.Pin = GPIO_PIN_2;
    HAL_GPIO_Init(GPIOD, &gpio_init_structure);

    /* switch PA8 */
    gpio_init_structure.Pin = GPIO_PIN_8;
    gpio_init_structure.Mode = GPIO_MODE_INPUT;
    HAL_GPIO_Init(GPIOA, &gpio_init_structure);
#else 
     /* Common GPIO configuration */
    gpio_init_structure.Mode      = GPIO_MODE_AF_PP;
    gpio_init_structure.Pull      = GPIO_PULLUP;
    gpio_init_structure.Speed     = GPIO_SPEED_FREQ_VERY_HIGH;
    gpio_init_structure.Alternate = GPIO_AF12_SDIO1;

    /* SDMMC GPIO CLKIN PB8, D0 PC8, D1 PC9, D2 PC10, D3 PC11, CK PC12, CMD PD2 */
    /* GPIOC configuration */
    gpio_init_structure.Pin = GPIO_PIN_6 | GPIO_PIN_7 | GPIO_PIN_8 | GPIO_PIN_9 | GPIO_PIN_10 | GPIO_PIN_11 | GPIO_PIN_12;
    HAL_GPIO_Init(GPIOC, &gpio_init_structure);

    /* GPIOD configuration */
    gpio_init_structure.Pin = GPIO_PIN_2;
    HAL_GPIO_Init(GPIOD, &gpio_init_structure);

    gpio_init_structure.Pin = GPIO_PIN_8 | GPIO_PIN_9;
    HAL_GPIO_Init(GPIOB, &gpio_init_structure);
#endif
 
    /* NVIC configuration for SDIO interrupts */
    HAL_NVIC_SetPriority(SDMMC1_IRQn, 5, 0);
    HAL_NVIC_EnableIRQ(SDMMC1_IRQn);
}

/**
 * @brief  DeInitializes the MMC MSP.
 * @param  hmmc : MMC handle
 * @retval None
 */
static void MMC_MspDeInit(MMC_HandleTypeDef *hmmc)
{
    /* Prevent unused argument(s) compilation warning */
    UNUSED(hmmc);

    /* Disable NVIC for SDIO interrupts */
    HAL_NVIC_DisableIRQ(SDMMC1_IRQn);

    /* DeInit GPIO pins can be done in the application
    (by surcharging this __weak function) */

    /* Disable SDMMC1 clock */
    __HAL_RCC_SDMMC1_CLK_DISABLE();

    /* GPIO pins clock and DMA clocks can be shut down in the application
    by surcharging this __weak function */
}

#if (USE_HAL_MMC_REGISTER_CALLBACKS == 1)
/**
 * @brief MMC Abort callbacks
 * @param hmmc : MMC handle
 * @retval None
 */
static void MMC_AbortCallback(MMC_HandleTypeDef *hmmc)
{
    BSP_MMC_AbortCallback(0);
}

/**
 * @brief Tx Transfer completed callbacks
 * @param hmmc : MMC handle
 * @retval None
 */
static void MMC_TxCpltCallback(MMC_HandleTypeDef *hmmc)
{
    BSP_MMC_WriteCpltCallback(0);
}

/**
 * @brief Rx Transfer completed callbacks
 * @param hmmc : MMC handle
 * @retval None
 */
static void MMC_RxCpltCallback(MMC_HandleTypeDef *hmmc)
{
    BSP_MMC_ReadCpltCallback(0);
}
#endif

/**
 * @}
 */

/**
 * @}
 */

/**
 * @}
 */

/**
 * @}
 */
```

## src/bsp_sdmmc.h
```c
/**
  ******************************************************************************
  * @file    stm32h750b_discovery_mmc.h
  * @author  MCD Application Team
  * @brief   This file contains the common defines and functions prototypes for
  *          the stm32h750b_discovery_mmc.c driver.
  ******************************************************************************
  * @attention
  *
  * Copyright (c) 2018 STMicroelectronics.
  * All rights reserved.
  *
  * This software is licensed under terms that can be found in the LICENSE file
  * in the root directory of this software component.
  * If no LICENSE file comes with this software, it is provided AS-IS.
  *
  ******************************************************************************
  */

/* Define to prevent recursive inclusion -------------------------------------*/
#ifndef STM32H750B_DK_MMC_H
#define STM32H750B_DK_MMC_H

#ifdef __cplusplus
 extern "C" {
#endif

/* Includes ------------------------------------------------------------------*/
#include <stm32_ll_rcc.h>
#include <stm32_ll_gpio.h>
#include <stm32_ll_sdmmc.h>
#include "bsp_errno.h"

/** @addtogroup BSP
  * @{
  */

/** @addtogroup STM32H750B_DK
  * @{
  */

/** @addtogroup STM32H750B_DK_MMC
  * @{
  */

/** @defgroup STM32H750B_DK_MMC_Exported_Types Exported Types
  * @{
  */

/**
  * @brief SD Card information structure
  */
#define BSP_MMC_CardInfo HAL_MMC_CardInfoTypeDef

#if (USE_HAL_MMC_REGISTER_CALLBACKS == 1)
typedef struct
{
  pMMC_CallbackTypeDef  pMspInitCb;
  pMMC_CallbackTypeDef  pMspDeInitCb;
}BSP_MMC_Cb_t;
#endif /* (USE_HAL_MMC_REGISTER_CALLBACKS == 1) */
/**
  * @}
  */

/** @defgroup STM32H750B_DK_MMC_Exported_Constants Exported Constants
  * @{
  */
/**
  * @brief  MMC status structure definition
  */
#define MMC_INSTANCES_NBR             1UL

/**
  * @brief  MMC read/write timeout
  */
#ifndef MMC_WRITE_TIMEOUT
#define MMC_WRITE_TIMEOUT         100U
#endif

#ifndef MMC_READ_TIMEOUT
#define MMC_READ_TIMEOUT          100U
#endif

/**
  * @brief  MMC transfer state definition
  */
#define MMC_TRANSFER_OK               0U
#define MMC_TRANSFER_BUSY             1U

#define MMC_PRESENT                   1UL
#define MMC_NOT_PRESENT               0UL

/**
  * @}
  */

/** @addtogroup STM32H750B_DK_MMC_Exported_Variables
  * @{
  */
extern MMC_HandleTypeDef hsd_sdmmc[MMC_INSTANCES_NBR];

/**
  * @}
  */

/** @addtogroup STM32H750B_DK_MMC_Exported_Functions
  * @{
  */
int32_t BSP_MMC_Init(uint32_t Instance);
int32_t BSP_MMC_DeInit(uint32_t Instance);

int32_t BSP_MMC_ReadBlocks(uint32_t Instance, uint32_t *pData, uint32_t BlockIdx, uint32_t BlocksNbr);
int32_t BSP_MMC_WriteBlocks(uint32_t Instance, uint32_t *pData, uint32_t BlockIdx, uint32_t NbrOfBlocks);
int32_t BSP_MMC_ReadBlocks_DMA(uint32_t Instance, uint32_t *pData, uint32_t BlockIdx, uint32_t NbrOfBlocks);
int32_t BSP_MMC_WriteBlocks_DMA(uint32_t Instance, uint32_t *pData, uint32_t BlockIdx, uint32_t NbrOfBlocks);
int32_t BSP_MMC_Erase(uint32_t Instance,uint32_t StartAddr, uint32_t EndAddr);
int32_t BSP_MMC_GetCardState(uint32_t Instance);
int32_t BSP_MMC_GetCardInfo(uint32_t Instance, BSP_MMC_CardInfo *CardInfo);
void    BSP_MMC_IRQHandler(uint32_t Instance);
HAL_StatusTypeDef MX_MMC_SD_Init(MMC_HandleTypeDef *hmmc);
/* These functions can be modified in case the current settings (e.g. DMA stream)
   need to be changed for specific application needs */
void    BSP_MMC_AbortCallback(uint32_t Instance);
void    BSP_MMC_WriteCpltCallback(uint32_t Instance);
void    BSP_MMC_ReadCpltCallback(uint32_t Instance);
/**
  * @}
  */

/**
  * @}
  */

/**
  * @}
  */

/**
  * @}
  */

#ifdef __cplusplus
}
#endif

#endif /* STM32H750B_DK_MMC_H */
```

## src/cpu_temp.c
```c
#include <zephyr/drivers/sensor.h>
#include "cpu_temp.h"

#if DT_HAS_COMPAT_STATUS_OKAY(st_stm32_temp_cal)

#include <zephyr/logging/log.h>
LOG_MODULE_REGISTER(cpu_temp, LOG_LEVEL_DBG);

static const struct device *temp_dev = DEVICE_DT_GET(DT_NODELABEL(die_temp));

int cpu_temp_init(void)
{
	if (!device_is_ready(temp_dev)) {
		LOG_WRN("dieTemp device not found!");
        return -ENODEV;
	}
    return 0;
}

int cpu_temp_read(void)
{
    if (!sensor_sample_fetch_chan(temp_dev, SENSOR_CHAN_DIE_TEMP)) {
        struct sensor_value val;
        sensor_channel_get(temp_dev, SENSOR_CHAN_DIE_TEMP, &val);
        float temp_val = sensor_value_to_float(&val) * 10;
        LOG_INF("cpu temp = %d.%d", val.val1, val.val2);
        return (int)temp_val;
    }
    return 0;
}   

#endif
```

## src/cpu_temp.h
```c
#ifndef INCLUDE_CPU_TEMP_H_
#define INCLUDE_CPU_TEMP_H_

#ifdef __cplusplus
extern "C" {
#endif

int cpu_temp_init(void);

int cpu_temp_read(void);
 
#ifdef __cplusplus
}
#endif

#endif
```

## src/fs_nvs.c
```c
#include <zephyr/kernel.h>
#include <zephyr/sys/reboot.h>
#include <zephyr/device.h>
#include <string.h>
#include <zephyr/drivers/flash.h>
#include <zephyr/storage/flash_map.h>
#include <zephyr/fs/nvs.h>

#include <zephyr/logging/log.h>
LOG_MODULE_REGISTER(nvs_flash, LOG_LEVEL_DBG);
 
#define NVS_PARTITION		    nvs_partition
#define NVS_PARTITION_DEVICE	FIXED_PARTITION_DEVICE(NVS_PARTITION)
#define NVS_PARTITION_OFFSET	FIXED_PARTITION_OFFSET(NVS_PARTITION)
#define NVS_PARTITION_SIZE  	FIXED_PARTITION_SIZE(NVS_PARTITION)

static struct nvs_fs fs;

// note: len = 0; is delete
int fs_nvs_write(uint16_t id, const void *data, size_t len)
{
	return nvs_write(&fs, id, data, len);
}

int fs_nvs_read(uint16_t id, void *data, size_t len)
{
	return nvs_read(&fs, id, data, len);
}

int fs_nvs_init(void)
{
    int ret;
    struct flash_pages_info info;

	/* define the nvs file system by settings with:
	 *	sector_size equal to the pagesize,
	 *	3 sectors
	 *	starting at NVS_PARTITION_OFFSET
	 */
	fs.flash_device = NVS_PARTITION_DEVICE;
	if (!device_is_ready(fs.flash_device)) {
		LOG_WRN("Flash device %s is not ready", fs.flash_device->name);
		return -ENODEV;
	}
 
	fs.offset = NVS_PARTITION_OFFSET;
	ret = flash_get_page_info_by_offs(fs.flash_device, fs.offset, &info);
	if (ret) {
		LOG_WRN("Unable to get page info");
		return 0;
	}
	fs.sector_size = info.size;
	fs.sector_count = 3U;

	ret = nvs_mount(&fs);
	if (ret) {
		LOG_WRN("Flash Init failed");
		return 0;
	}

    LOG_DBG("nvs_partition@ 0x%08x, size: 0x%x", NVS_PARTITION_OFFSET, NVS_PARTITION_SIZE);
	LOG_DBG("sector_size = %d", fs.sector_size);

#define RBT_CNT_ID  1
#if RBT_CNT_ID  // test...
    uint32_t reboot_counter = 520U;
    ret = nvs_write(&fs, RBT_CNT_ID, &reboot_counter, sizeof(reboot_counter));
	LOG_DBG("nvs_write =  %d", reboot_counter);
    ret = nvs_read(&fs, RBT_CNT_ID, &reboot_counter, sizeof(reboot_counter));
	if (ret > 0) { /* item was found, show it */
		LOG_DBG("Id: %d, Reboot_counter: %d", RBT_CNT_ID, reboot_counter);
	} else   {/* item was not found, add it */
		LOG_WRN("No Reboot counter found, adding it at id %d", RBT_CNT_ID);
	}
#endif
    return 0;
}
```

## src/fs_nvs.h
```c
#ifndef INCLUDE_FS_NVS_H_
#define INCLUDE_FS_NVS_H_

#ifdef __cplusplus
extern "C" {
#endif

int fs_nvs_write(uint16_t id, const void *data, size_t len);
 
int fs_nvs_read(uint16_t id, void *data, size_t len);

int fs_nvs_init(void);
 
#ifdef __cplusplus
}
#endif

#endif
```

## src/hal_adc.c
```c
/*
 * Copyright (c) 2020 Libre Solar Technologies GmbH
 *
 * SPDX-License-Identifier: Apache-2.0
 */

#include <inttypes.h>
#include <stddef.h>
#include <stdint.h>

#include <zephyr/device.h>
#include <zephyr/devicetree.h>
#include <zephyr/drivers/adc.h>
#include <zephyr/kernel.h>
#include <zephyr/sys/printk.h>
#include <zephyr/sys/util.h>

#if !DT_NODE_EXISTS(DT_PATH(zephyr_user)) || \
	!DT_NODE_HAS_PROP(DT_PATH(zephyr_user), io_channels)
#error "No suitable devicetree overlay specified"
#endif

#define REG_INIT(node_id, prop, idx) \
	DEVICE_DT_GET(DT_PHANDLE_BY_IDX(node_id, prop, idx)),

#define ADC_INIT(node_id, prop, idx) \
	ADC_DT_SPEC_GET_BY_IDX(node_id, idx),

// static const struct device *regs[] = {
// 	DT_FOREACH_PROP_ELEM(DT_NODELABEL(resources), regulators, REG_INIT)
// };

/* Data of ADC io-channels specified in devicetree. */
static const struct adc_dt_spec adc_chs[] = {
	DT_FOREACH_PROP_ELEM(DT_PATH(zephyr_user), io_channels, ADC_INIT)
};

int hal_adc_setup(void)
{
	int err;
	uint32_t count = 0;
	uint16_t buf;
	struct adc_sequence sequence = {
		.buffer = &buf,
		/* buffer size in bytes, not number of samples */
		.buffer_size = sizeof(buf),
	};

	/* Configure channels individually prior to sampling. */
	for (size_t i = 0U; i < ARRAY_SIZE(adc_chs); i++) {
		if (!adc_is_ready_dt(&adc_chs[i])) {
			printk("ADC controller device %s not ready\n", adc_chs[i].dev->name);
			return 0;
		}

		err = adc_channel_setup_dt(&adc_chs[i]);
		if (err < 0) {
			printk("Could not setup channel #%d (%d)\n", i, err);
			return 0;
		}
	}

	while (1) {
		printk("ADC reading[%u]:\n", count++);
		for (size_t i = 0U; i < ARRAY_SIZE(adc_chs); i++) {
			int32_t val_mv;

			printk("- %s, channel %d: ",
			       adc_chs[i].dev->name,
			       adc_chs[i].channel_id);

			adc_sequence_init_dt(&adc_chs[i], &sequence);

			err = adc_read_dt(&adc_chs[i], &sequence);
			if (err < 0) {
				printk("Could not read (%d)\n", err);
				continue;
			}

			/*
			 * If using differential mode, the 16 bit value
			 * in the ADC sample buffer should be a signed 2's
			 * complement value.
			 */
			if (adc_chs[i].channel_cfg.differential) {
				val_mv = (int32_t)((int16_t)buf);
			} else {
				val_mv = (int32_t)buf;
			}
			printk("%"PRId32, val_mv);
			err = adc_raw_to_millivolts_dt(&adc_chs[i],  &val_mv);
			/* conversion to mV may not be supported, skip if not */
			if (err < 0) {
				printk(" (value in mV not available)\n");
			} else {
				printk(" = %"PRId32" mV\n", val_mv);
			}
		}

		k_sleep(K_MSEC(1000));
	}
	return 0;
}
```
